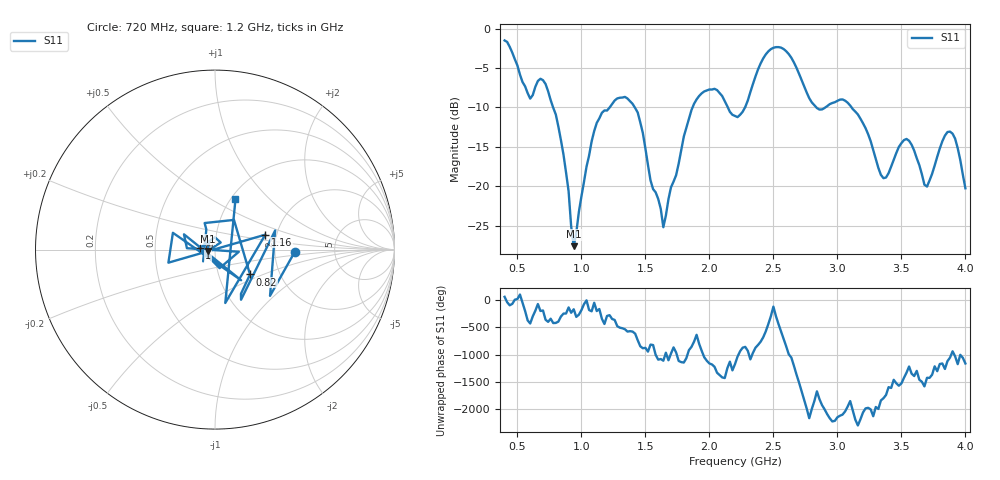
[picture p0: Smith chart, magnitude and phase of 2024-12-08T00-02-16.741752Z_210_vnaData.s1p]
!Created with skrf (http://scikit-rf.org).
# Hz S RI R 50.0
!freq ReS11 ImS11
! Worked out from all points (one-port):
!   181 points, 400 MHz to 4 GHz, reference 50 ohm
!   lowest |S11| = -27.6 dB at 940 MHz (marker M1), VSWR 1.09, Z = 46.1 - j0.715 ohm
!   |S11| at or under -10 dB: 779.1 MHz to 1.221 GHz (441.5 MHz wide, 44.2 % of centre); 1.417 GHz to 1.868 GHz (450.8 MHz wide, 27.4 % of centre); 3.111 GHz to end of sweep (the widest 3 of 5)
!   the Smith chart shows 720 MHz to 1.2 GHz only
!   S11 on the Smith chart (normalised r, x): 720 MHz: 2.60, -0.07; 820 MHz: 1.41, -0.42; 1 GHz: 0.84, +0.02; 1.16 GHz: 1.74, +0.32; 1.2 GHz: 1.05, +0.65
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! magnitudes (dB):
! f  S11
! 400 MHz  -1.5
! 600 MHz  -8.9
! 720 MHz  -7.0
! 820 MHz  -12.4
! 860 MHz  -16.0
! 940 MHz  -27.6
! 1 GHz  -21.3
! 1.08 GHz  -14.3
! 1.16 GHz  -10.7
! 1.2 GHz  -10.4
! 1.3 GHz  -8.8
! 1.44 GHz  -10.6
! 1.64 GHz  -25.2
! 1.76 GHz  -17.1
! 1.86 GHz  -10.3
! 1.94 GHz  -8.2
! 2.06 GHz  -7.8
! 2.2 GHz  -11.1
! 2.46 GHz  -2.9
! 2.66 GHz  -4.3
! 2.84 GHz  -10.1
! 3.1 GHz  -9.8
! 3.36 GHz  -19.0
! 3.56 GHz  -14.2
! 3.7 GHz  -20.0
! 3.84 GHz  -13.6
! 3.9 GHz  -13.3
! 4 GHz  -20.3
